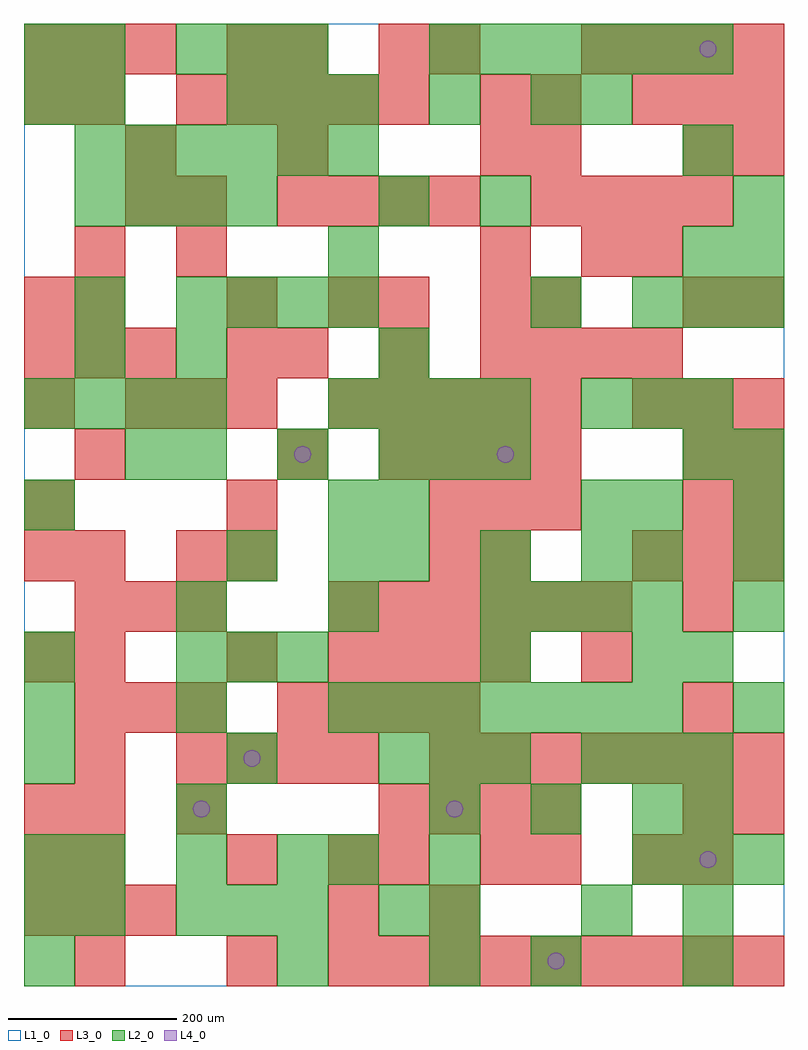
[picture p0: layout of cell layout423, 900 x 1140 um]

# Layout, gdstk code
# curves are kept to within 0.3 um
import gdstk
lib = gdstk.Library(unit=1e-6, precision=1e-09)
def R(c, l, rs):  # rectangles x0, y0, x1, y1
    for r in rs: c.add(gdstk.rectangle(r[:2], r[2:], *l))
def A(c, l, x, y, w, h, nx, ny, dx, dy):  # array of equal rectangles
    R(c, l, [(x+i*dx, y+j*dy, x+i*dx+w, y+j*dy+h) for i in range(nx) for j in range(ny)])
def P(c, l, *ps):  # polygons
    for p in ps: c.add(gdstk.Polygon(p, *l))
L1_0 = (1, 0)
L2_0 = (2, 0)
L3_0 = (3, 0)
L4_0 = (4, 0)

layout423 = lib.new_cell('layout423')
R(layout423, L1_0, [(0,0,900,1140)])
A(layout423, L2_0, 0, 0, 60, 60, 1, 3, 0, 60)
A(layout423, L2_0, 480, 0, 60, 60, 1, 3, 0, 60)
A(layout423, L2_0, 180, 60, 60, 60, 3, 2, 60, 300)
A(layout423, L2_0, 660, 60, 60, 60, 1, 3, 0, 480)
A(layout423, L2_0, 60, 120, 60, 60, 3, 1, 120, 0)
A(layout423, L2_0, 720, 120, 60, 60, 3, 2, 60, 660)
A(layout423, L2_0, 480, 180, 60, 60, 3, 1, 120, 0)
A(layout423, L2_0, 420, 240, 60, 60, 3, 1, 60, 0)
A(layout423, L2_0, 660, 240, 60, 60, 3, 2, 60, 420)
A(layout423, L2_0, 0, 300, 60, 60, 3, 1, 180, 0)
A(layout423, L2_0, 420, 300, 60, 60, 6, 1, 60, 0)
A(layout423, L2_0, 780, 360, 60, 60, 1, 3, 0, 240)
A(layout423, L2_0, 180, 420, 60, 60, 3, 1, 180, 0)
A(layout423, L2_0, 600, 420, 60, 60, 3, 1, 60, 0)
A(layout423, L2_0, 840, 420, 60, 60, 1, 4, 0, 60)
A(layout423, L2_0, 420, 480, 60, 60, 3, 1, 120, 0)
A(layout423, L2_0, 420, 540, 60, 60, 1, 3, 0, 180)
A(layout423, L2_0, 180, 600, 60, 60, 3, 1, 120, 0)
A(layout423, L2_0, 0, 660, 60, 60, 4, 1, 60, 0)
A(layout423, L2_0, 360, 660, 60, 60, 4, 1, 60, 0)
A(layout423, L2_0, 180, 780, 60, 60, 4, 1, 60, 0)
A(layout423, L2_0, 60, 900, 60, 60, 4, 1, 60, 0)
A(layout423, L2_0, 60, 960, 60, 60, 6, 1, 60, 0)
A(layout423, L2_0, 240, 1020, 60, 60, 3, 1, 60, 0)
A(layout423, L2_0, 180, 1080, 60, 60, 3, 1, 60, 0)
A(layout423, L2_0, 480, 1080, 60, 60, 6, 1, 60, 0)
R(layout423, L2_0, [(300,0,360,60), (600,0,660,60), (780,0,840,60), (60,60,120,120), (420,60,480,120), (780,60,840,120), (360,120,420,180), (180,180,240,240), (780,180,840,240), (0,240,60,300), (240,240,300,300), (840,300,900,360), (0,360,60,420), (540,360,600,420), (720,360,780,420), (240,480,300,540), (360,480,420,540), (720,480,780,540), (0,540,60,600), (360,540,420,600), (720,540,780,600), (120,600,180,660), (480,600,540,660), (540,600,600,660), (60,720,120,780), (180,720,240,780), (60,780,120,840), (600,780,660,840), (360,840,420,900), (840,840,900,900), (540,900,600,960), (840,900,900,960), (780,960,840,1020), (0,1020,60,1080), (60,1020,120,1080), (480,1020,540,1080), (600,1020,660,1080), (0,1080,60,1140), (60,1080,120,1140)])
A(layout423, L3_0, 360, 0, 60, 60, 9, 1, 60, 0)
A(layout423, L3_0, 0, 60, 60, 60, 3, 2, 60, 660)
A(layout423, L3_0, 60, 120, 60, 60, 1, 3, 0, 60)
A(layout423, L3_0, 420, 180, 60, 60, 4, 2, 60, 420)
A(layout423, L3_0, 780, 180, 60, 60, 1, 4, 0, 120)
A(layout423, L3_0, 180, 240, 60, 60, 4, 1, 60, 0)
A(layout423, L3_0, 480, 240, 60, 60, 7, 1, 60, 0)
A(layout423, L3_0, 60, 300, 60, 60, 3, 2, 60, 120)
A(layout423, L3_0, 300, 300, 60, 60, 4, 2, 60, 600)
A(layout423, L3_0, 60, 360, 60, 60, 1, 3, 0, 120)
A(layout423, L3_0, 360, 360, 60, 60, 4, 1, 60, 0)
A(layout423, L3_0, 360, 420, 60, 60, 6, 1, 60, 0)
A(layout423, L3_0, 720, 480, 60, 60, 3, 2, 60, 180)
A(layout423, L3_0, 0, 540, 60, 60, 3, 1, 240, 0)
A(layout423, L3_0, 780, 600, 60, 60, 1, 3, 0, 180)
A(layout423, L3_0, 840, 600, 60, 60, 1, 3, 0, 180)
A(layout423, L3_0, 120, 660, 60, 60, 3, 1, 60, 0)
A(layout423, L3_0, 360, 660, 60, 60, 5, 1, 60, 0)
A(layout423, L3_0, 300, 720, 60, 60, 3, 1, 120, 0)
A(layout423, L3_0, 600, 720, 60, 60, 3, 1, 60, 0)
A(layout423, L3_0, 600, 900, 60, 60, 4, 1, 60, 0)
A(layout423, L3_0, 180, 1020, 60, 60, 5, 1, 60, 0)
A(layout423, L3_0, 720, 1020, 60, 60, 3, 1, 60, 0)
A(layout423, L3_0, 0, 1080, 60, 60, 3, 1, 60, 0)
A(layout423, L3_0, 660, 1080, 60, 60, 4, 1, 60, 0)
R(layout423, L3_0, [(60,0,120,60), (240,0,300,60), (360,60,420,120), (480,60,540,120), (0,120,60,180), (240,120,300,180), (360,120,420,180), (420,120,480,180), (540,120,600,180), (600,120,660,180), (720,120,780,180), (780,120,840,180), (0,180,60,240), (180,180,240,240), (840,180,900,240), (0,360,60,420), (240,360,300,420), (660,360,720,420), (0,480,60,540), (180,480,240,540), (240,480,300,540), (480,480,540,540), (540,480,600,540), (540,540,600,600), (600,540,660,600), (840,540,900,600), (300,600,360,660), (0,660,60,720), (240,720,300,780), (0,780,60,840), (60,780,120,840), (240,780,300,840), (360,780,420,840), (420,780,480,840), (540,780,600,840), (600,780,660,840), (60,840,120,900), (180,840,240,900), (540,840,600,900), (660,840,720,900), (720,840,780,900), (120,900,180,960), (180,900,240,960), (120,960,180,1020), (300,960,360,1020), (540,960,600,1020), (600,960,660,1020), (0,1020,60,1080), (60,1020,120,1080), (540,1020,600,1080), (600,1020,660,1080), (240,1080,300,1140), (300,1080,360,1140), (420,1080,480,1140), (480,1080,540,1140)])
P(layout423, L4_0, [(220,210),(219.239,213.827),(217.071,217.071),(213.827,219.239),(210,220),(206.173,219.239),(202.929,217.071),(200.761,213.827),(200,210),(200.761,206.173),(202.929,202.929),(206.173,200.761),(210,200),(213.827,200.761),(217.071,202.929),(219.239,206.173)],
  [(280,270),(279.239,273.827),(277.071,277.071),(273.827,279.239),(270,280),(266.173,279.239),(262.929,277.071),(260.761,273.827),(260,270),(260.761,266.173),(262.929,262.929),(266.173,260.761),(270,260),(273.827,260.761),(277.071,262.929),(279.239,266.173)],
  [(340,630),(339.239,633.827),(337.071,637.071),(333.827,639.239),(330,640),(326.173,639.239),(322.929,637.071),(320.761,633.827),(320,630),(320.761,626.173),(322.929,622.929),(326.173,620.761),(330,620),(333.827,620.761),(337.071,622.929),(339.239,626.173)],
  [(520,210),(519.239,213.827),(517.071,217.071),(513.827,219.239),(510,220),(506.173,219.239),(502.929,217.071),(500.761,213.827),(500,210),(500.761,206.173),(502.929,202.929),(506.173,200.761),(510,200),(513.827,200.761),(517.071,202.929),(519.239,206.173)],
  [(580,630),(579.239,633.827),(577.071,637.071),(573.827,639.239),(570,640),(566.173,639.239),(562.929,637.071),(560.761,633.827),(560,630),(560.761,626.173),(562.929,622.929),(566.173,620.761),(570,620),(573.827,620.761),(577.071,622.929),(579.239,626.173)],
  [(640,30),(639.239,33.827),(637.071,37.071),(633.827,39.239),(630,40),(626.173,39.239),(622.929,37.071),(620.761,33.827),(620,30),(620.761,26.173),(622.929,22.929),(626.173,20.761),(630,20),(633.827,20.761),(637.071,22.929),(639.239,26.173)],
  [(820,150),(819.239,153.827),(817.071,157.071),(813.827,159.239),(810,160),(806.173,159.239),(802.929,157.071),(800.761,153.827),(800,150),(800.761,146.173),(802.929,142.929),(806.173,140.761),(810,140),(813.827,140.761),(817.071,142.929),(819.239,146.173)],
  [(820,1110),(819.239,1113.827),(817.071,1117.071),(813.827,1119.239),(810,1120),(806.173,1119.239),(802.929,1117.071),(800.761,1113.827),(800,1110),(800.761,1106.173),(802.929,1102.929),(806.173,1100.761),(810,1100),(813.827,1100.761),(817.071,1102.929),(819.239,1106.173)])

lib.write_gds('layout423.gds')
